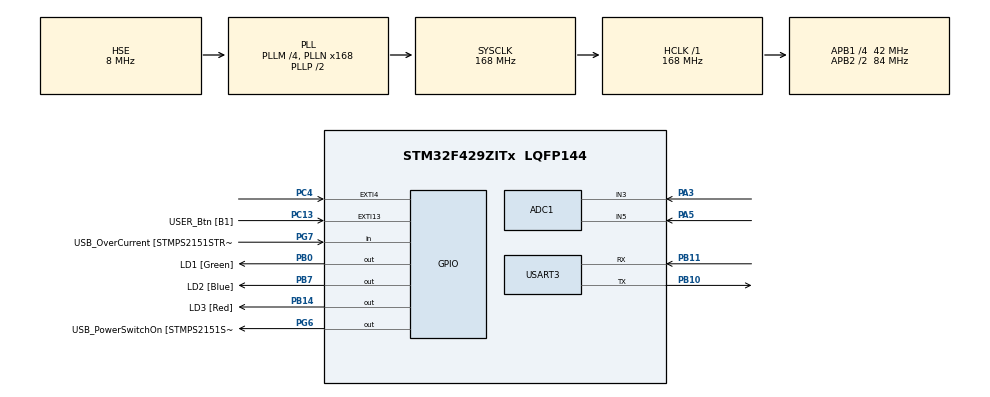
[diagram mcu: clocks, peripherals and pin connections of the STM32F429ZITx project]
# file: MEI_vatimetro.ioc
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ADC1.Channel-0\#ChannelRegularConversion=ADC_CHANNEL_3
ADC1.Channel-1\#ChannelRegularConversion=ADC_CHANNEL_5
ADC1.ContinuousConvMode=DISABLE
ADC1.DMAContinuousRequests=ENABLE
ADC1.ExternalTrigConv=ADC_EXTERNALTRIGCONV_T3_TRGO
ADC1.NbrOfConversion=2
ADC1.NbrOfConversionFlag=1
ADC1.Rank-0\#ChannelRegularConversion=1
ADC1.Rank-1\#ChannelRegularConversion=2
ADC1.SamplingTime-0\#ChannelRegularConversion=ADC_SAMPLETIME_84CYCLES
ADC1.SamplingTime-1\#ChannelRegularConversion=ADC_SAMPLETIME_84CYCLES
ADC1.ScanConvMode=ENABLE
ADC1.master=1
Dma.ADC1.0.Direction=DMA_PERIPH_TO_MEMORY
Dma.ADC1.0.FIFOMode=DMA_FIFOMODE_DISABLE
Dma.ADC1.0.Instance=DMA2_Stream0
Dma.ADC1.0.MemDataAlignment=DMA_MDATAALIGN_HALFWORD
Dma.ADC1.0.MemInc=DMA_MINC_ENABLE
Dma.ADC1.0.Mode=DMA_CIRCULAR
Dma.ADC1.0.PeriphDataAlignment=DMA_PDATAALIGN_HALFWORD
Dma.ADC1.0.PeriphInc=DMA_PINC_DISABLE
Dma.ADC1.0.Priority=DMA_PRIORITY_HIGH
Dma.Request0=ADC1
Mcu.Family=STM32F4
Mcu.Name=STM32F429ZITx
Mcu.Package=LQFP144
NVIC.DMA2_Stream0_IRQn=true\:0\:0\:false\:false\:true\:false\:true\:true
NVIC.PriorityGroup=NVIC_PRIORITYGROUP_4
PA13.GPIO_Label=TMS
PA13.Mode=Serial_Wire
PA13.Signal=SYS_JTMS-SWDIO
PA14.GPIO_Label=TCK
PA14.Mode=Serial_Wire
PA14.Signal=SYS_JTCK-SWCLK
PA3.Signal=ADCx_IN3
PA5.Signal=ADCx_IN5
PB0.GPIO_Label=LD1 [Green]
PB0.Signal=GPIO_Output
PB10.Mode=Asynchronous
PB10.Signal=USART3_TX
PB11.Mode=Asynchronous
PB11.Signal=USART3_RX
PB14.GPIO_Label=LD3 [Red]
PB14.Signal=GPIO_Output
PB7.GPIO_Label=LD2 [Blue]
PB7.Signal=GPIO_Output
PC13.GPIO_Label=USER_Btn [B1]
PC13.Signal=GPXTI13
PC14/OSC32_IN.Mode=LSE-External-Oscillator
PC14/OSC32_IN.Signal=RCC_OSC32_IN
PC15/OSC32_OUT.Mode=LSE-External-Oscillator
PC15/OSC32_OUT.Signal=RCC_OSC32_OUT
PC4.Signal=GPXTI4
PG6.GPIO_Label=USB_PowerSwitchOn [STMPS2151STR_EN]
PG6.Signal=GPIO_Output
PG7.GPIO_Label=USB_OverCurrent [STMPS2151STR_FAULT]
PG7.Signal=GPIO_Input
PH0/OSC_IN.GPIO_Label=MCO [STM32F103CBT6_PA8]
PH0/OSC_IN.Mode=HSE-External-Clock-Source
PH0/OSC_IN.Signal=RCC_OSC_IN
PH1/OSC_OUT.Mode=HSE-External-Clock-Source
PH1/OSC_OUT.Signal=RCC_OSC_OUT
ProjectManager.HeapSize=0x200
ProjectManager.StackSize=0x400
ProjectManager.TargetToolchain=STM32CubeIDE
RCC.48MHZClocksFreq_Value=48000000
RCC.AHBFreq_Value=168000000
RCC.APB1CLKDivider=RCC_HCLK_DIV4
RCC.APB1Freq_Value=42000000
RCC.APB1TimFreq_Value=84000000
RCC.APB2CLKDivider=RCC_HCLK_DIV2
RCC.APB2Freq_Value=84000000
RCC.APB2TimCLKDivider=2
RCC.APB2TimFreq_Value=168000000
RCC.CortexFreq_Value=168000000
RCC.HCLKFreq_Value=168000000
RCC.HSE_VALUE=8000000
RCC.HSI_VALUE=16000000
RCC.PLLM=4
RCC.PLLMUL=RCC_PLL_MUL9
RCC.PLLN=168
RCC.PLLQ=7
RCC.PLLSourceVirtual=RCC_PLLSOURCE_HSE
RCC.PRESCALERUSB=RCC_USBCLKSOURCE_PLL_DIV1_5
RCC.SYSCLKFreq_VALUE=168000000
RCC.SYSCLKSource=RCC_SYSCLKSOURCE_PLLCLK
RCC.SYSCLKSourceVirtual=RCC_SYSCLKSOURCE_PLLCLK
RCC.USBFreq_Value=48000000
RCC.VCOOutputFreq_Value=336000000
SH.ADCx_IN3.0=ADC1_IN3,IN3
SH.ADCx_IN5.0=ADC1_IN5,IN5
TIM3.Period=3360
TIM3.Prescaler=9
TIM3.TIM_MasterOutputTrigger=TIM_TRGO_UPDATE
TIM3.TIM_MasterSlaveMode=TIM_MASTERSLAVEMODE_DISABLE
USART3.VirtualMode=VM_ASYNC
VP_TIM3_VS_ClockSourceINT.Mode=Internal
board=NUCLEO-F429ZI

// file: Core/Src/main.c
/* USER CODE BEGIN Header */
/**
 ******************************************************************************
 * @file           : main.c
 * @brief          : Main program body
 ******************************************************************************
 * @attention
 *
 * Copyright (c) 2023 STMicroelectronics.
 * All rights reserved.
 *
 * This software is licensed under terms that can be found in the LICENSE file
 * in the root directory of this software component.
 * If no LICENSE file comes with this software, it is provided AS-IS.
 *
 ******************************************************************************
 */
/* USER CODE END Header */
#include "main.h"

/* USER CODE BEGIN Includes */
#include <math.h>
#include <stdint.h>
#include <stdio.h>
#include <stdbool.h>
/* USER CODE END Includes */

/* USER CODE BEGIN PM */
#define SAMPLES_AMOUNT  500
#define VOLTAGE_SAMPLES 250
#define CURRENT_SAMPLES 250
#define VOLTAGE_COMP    311.11 // 311Vp se traducen en 3Vp
#define CURRENT_COMP    1
#define VREF_ADC        3
#define MAKE_TO_MILI    1000
#define N_AVERAGE       10
/* USER CODE END PM */

ADC_HandleTypeDef hadc1;
DMA_HandleTypeDef hdma_adc1;

TIM_HandleTypeDef htim3;

UART_HandleTypeDef huart3;

void SystemClock_Config(void);
static void MX_GPIO_Init(void);
static void MX_DMA_Init(void);
static void MX_ADC1_Init(void);
static void MX_TIM3_Init(void);
static void MX_USART3_UART_Init(void);
/* USER CODE BEGIN PFP */
static uint16_t DMA_samples_buffer[SAMPLES_AMOUNT] = {0};

static double instant_power[VOLTAGE_SAMPLES] = {0.0};

void runStateMachine(bool isReady);

//#ifdef __GNUC__
#define PUTCHAR_PROTOTYPE int __io_putchar(int ch)
//#else
//#define PUTCHAR_PROTOTYPE int fputc(int ch, FILE *f)
//#endif

PUTCHAR_PROTOTYPE{
  HAL_UART_Transmit(&huart3,(uint8_t *)&ch, 1, HAL_MAX_DELAY);

  return ch;
}
//int _write(int file, char *ptr, int len) {
//    HAL_UART_Transmit(&huart3, (uint8_t *)ptr, len, 1000);
//    return len;
//}

typedef enum
{
  SPLIT_SAMPLES,
  ADECUATE_SAMPLES,
  CALCULATE,
  MOVING_AVERAGE,
  SHOW
} StateMachineISR;

typedef struct
{
  uint16_t voltage_samples[VOLTAGE_SAMPLES]; // PA3
  double adequate_voltage_samples[VOLTAGE_SAMPLES];
  uint16_t average_val_voltage;
  double effective_voltage;
} VoltageParams;

typedef struct
{
  uint16_t current_samples[CURRENT_SAMPLES]; // PA5
  double adequate_current_samples_mA[CURRENT_SAMPLES];
  uint16_t average_val_current;
  double effective_current_mA;
} CurrentParams;

typedef struct
{
  double active_power;
  double apparent_power;
  double reactive_power;
  double power_factor;
} PowerParams;

VoltageParams voltage_params = {0};
CurrentParams current_params = {0};
PowerParams power_data_acquired = {0};

static double arrVoltage_moving[N_AVERAGE] = {0.0};
static double arrCurrent_moving[N_AVERAGE] = {0.0};
static PowerParams arrPower_moving[N_AVERAGE] = {0};
static double voltage_value;
static double current_value;
static double active_value;
static double apparent_value;
static double reactive_value;
static double factor_value;
static uint8_t n_values = 1;  //amount of samples
static uint8_t position_to_insert = 0;

static StateMachineISR ISR_state = SPLIT_SAMPLES;
// volatile bool conversion_is_complete = false;

void HAL_ADC_ConvCpltCallback(ADC_HandleTypeDef *hadc); // Este es el callback para la rutina de servicio de la interrupción
                                                        // Dentro de HAL_ADC_IRQHandler

uint16_t getAverage(uint16_t *samples_buff);

/* USER CODE END PFP */

/* USER CODE BEGIN 0 */
uint16_t getAverage(uint16_t *samples_buff)
{

  volatile uint32_t sum = 0;

  for (uint16_t i = 0; i < VOLTAGE_SAMPLES; i++)
  {
    sum += samples_buff[i];
  }
  return (uint16_t)(sum / VOLTAGE_SAMPLES);
}
double getAverage_double(double *samples_buff)
{

  volatile double sum = 0;

  for (uint32_t i = 0; i < VOLTAGE_SAMPLES; i++)
  {
    sum += samples_buff[i];
  }
  return (double)(sum / VOLTAGE_SAMPLES);
}
double getRMS(double *samples_buff)
{

  volatile uint32_t aux_value = 0;
  volatile double rms_value = 0.0;

  for (uint32_t i = 0; i < VOLTAGE_SAMPLES; i++)
  {
    aux_value += samples_buff[i] * samples_buff[i];
  }
  rms_value = sqrt(aux_value / VOLTAGE_SAMPLES);

  return rms_value;
}
// indice del arreglo; muestra que se agrega; ubicacion donde se agrega
double getMovingAverage(uint8_t n, uint8_t amount_of_samples, double sample_buff, double *arr_average)
{

  volatile double tmp_value = 0;

  arr_average[n] = sample_buff;

  for (uint8_t x = 0; x < amount_of_samples; x++)
  {
    tmp_value += arr_average[x];
  }

  return (double) (tmp_value / amount_of_samples);
}

void getMovingAverage_s(uint8_t n, uint8_t amount_of_samples)
{
  volatile double tmp_act =0;
  volatile double tmp_app =0;
  volatile double tmp_rea =0;
  volatile double tmp_fdp =0;

  arrPower_moving[n].active_power   = power_data_acquired.active_power;
  arrPower_moving[n].apparent_power = power_data_acquired.apparent_power;
  arrPower_moving[n].reactive_power = power_data_acquired.reactive_power;
  arrPower_moving[n].power_factor   = power_data_acquired.power_factor;

  for (uint8_t x = 0; x < amount_of_samples; x++)
  {
    tmp_act += arrPower_moving[x].active_power;
    tmp_app += arrPower_moving[x].apparent_power;
    tmp_rea += arrPower_moving[x].reactive_power;
    tmp_fdp += arrPower_moving[x].power_factor;
  }
  active_value  = tmp_act/amount_of_samples;//printf
  apparent_value= tmp_app/amount_of_samples;//printf
  reactive_value= tmp_rea/amount_of_samples;//printf
  factor_value  = tmp_fdp/amount_of_samples;//printf

  return;
}

/* USER CODE END 0 */

int main(void)
{

  /* MCU Configuration--------------------------------------------------------*/

  /* Reset of all peripherals, Initializes the Flash interface and the Systick. */
  HAL_Init();

  /* USER CODE BEGIN Init */
  printf("-----------------------------\r\n");
  printf("Medidas Electronicas I\r\n");
  printf("Laboratorio 13\r\n");
  printf("Alberdi - Morelli - Sepulveda\r\n");
  printf("-----------------------------\r\n\n");
  HAL_Delay(2000);
  /* USER CODE END Init */

  /* Configure the system clock */
  SystemClock_Config();

  /* USER CODE BEGIN SysInit */
  SystemInit();
  /* USER CODE END SysInit */

  /* Initialize all configured peripherals */
  MX_GPIO_Init();
  MX_DMA_Init();
  MX_ADC1_Init();
  MX_TIM3_Init();
  MX_USART3_UART_Init();
  /* USER CODE BEGIN 2 */
  HAL_ADC_Start_DMA(&hadc1, (uint32_t *)DMA_samples_buffer, SAMPLES_AMOUNT);
  HAL_TIM_Base_Start_IT(&htim3);

  /* USER CODE END 2 */

  /* Infinite loop */
  while (1)
  {

  }
}

void SystemClock_Config(void)
{
  RCC_OscInitTypeDef RCC_OscInitStruct = {0};
  RCC_ClkInitTypeDef RCC_ClkInitStruct = {0};

  /** Configure the main internal regulator output voltage
  */
  __HAL_RCC_PWR_CLK_ENABLE();
  __HAL_PWR_VOLTAGESCALING_CONFIG(PWR_REGULATOR_VOLTAGE_SCALE1);

  /** Initializes the RCC Oscillators according to the specified parameters
  * in the RCC_OscInitTypeDef structure.
  */
  RCC_OscInitStruct.OscillatorType = RCC_OSCILLATORTYPE_HSE;
  RCC_OscInitStruct.HSEState = RCC_HSE_BYPASS;
  RCC_OscInitStruct.PLL.PLLState = RCC_PLL_ON;
  RCC_OscInitStruct.PLL.PLLSource = RCC_PLLSOURCE_HSE;
  RCC_OscInitStruct.PLL.PLLM = 4;
  RCC_OscInitStruct.PLL.PLLN = 168;
  RCC_OscInitStruct.PLL.PLLP = RCC_PLLP_DIV2;
  RCC_OscInitStruct.PLL.PLLQ = 7;
  if (HAL_RCC_OscConfig(&RCC_OscInitStruct) != HAL_OK)
  {
    Error_Handler();
  }

  /** Initializes the CPU, AHB and APB buses clocks
  */
  RCC_ClkInitStruct.ClockType = RCC_CLOCKTYPE_HCLK|RCC_CLOCKTYPE_SYSCLK
                              |RCC_CLOCKTYPE_PCLK1|RCC_CLOCKTYPE_PCLK2;
  RCC_ClkInitStruct.SYSCLKSource = RCC_SYSCLKSOURCE_PLLCLK;
  RCC_ClkInitStruct.AHBCLKDivider = RCC_SYSCLK_DIV1;
  RCC_ClkInitStruct.APB1CLKDivider = RCC_HCLK_DIV4;
  RCC_ClkInitStruct.APB2CLKDivider = RCC_HCLK_DIV2;

  if (HAL_RCC_ClockConfig(&RCC_ClkInitStruct, FLASH_LATENCY_5) != HAL_OK)
  {
    Error_Handler();
  }
}

static void MX_ADC1_Init(void)
{

  ADC_ChannelConfTypeDef sConfig = {0};

  /** Configure the global features of the ADC (Clock, Resolution, Data Alignment and number of conversion)
  */
  hadc1.Instance = ADC1;
  hadc1.Init.ClockPrescaler = ADC_CLOCK_SYNC_PCLK_DIV4;
  hadc1.Init.Resolution = ADC_RESOLUTION_12B;
  hadc1.Init.ScanConvMode = ENABLE;
  hadc1.Init.ContinuousConvMode = DISABLE;
  hadc1.Init.DiscontinuousConvMode = DISABLE;
  hadc1.Init.ExternalTrigConvEdge = ADC_EXTERNALTRIGCONVEDGE_RISING;
  hadc1.Init.ExternalTrigConv = ADC_EXTERNALTRIGCONV_T3_TRGO;
  hadc1.Init.DataAlign = ADC_DATAALIGN_RIGHT;
  hadc1.Init.NbrOfConversion = 2;
  hadc1.Init.DMAContinuousRequests = ENABLE;
  hadc1.Init.EOCSelection = ADC_EOC_SINGLE_CONV;
  if (HAL_ADC_Init(&hadc1) != HAL_OK)
  {
    Error_Handler();
  }

  /** Configure for the selected ADC regular channel its corresponding rank in the sequencer and its sample time.
  */
  sConfig.Channel = ADC_CHANNEL_3;
  sConfig.Rank = 1;
  sConfig.SamplingTime = ADC_SAMPLETIME_84CYCLES;
  if (HAL_ADC_ConfigChannel(&hadc1, &sConfig) != HAL_OK)
  {
    Error_Handler();
  }

  /** Configure for the selected ADC regular channel its corresponding rank in the sequencer and its sample time.
  */
  sConfig.Channel = ADC_CHANNEL_5;
  sConfig.Rank = 2;
  if (HAL_ADC_ConfigChannel(&hadc1, &sConfig) != HAL_OK)
  {
    Error_Handler();
  }
}

static void MX_TIM3_Init(void)
{

  TIM_ClockConfigTypeDef sClockSourceConfig = {0};
  TIM_MasterConfigTypeDef sMasterConfig = {0};

  htim3.Instance = TIM3;
  htim3.Init.Prescaler = 9;
  htim3.Init.CounterMode = TIM_COUNTERMODE_UP;
  htim3.Init.Period = 3360;
  htim3.Init.ClockDivision = TIM_CLOCKDIVISION_DIV1;
  htim3.Init.AutoReloadPreload = TIM_AUTORELOAD_PRELOAD_DISABLE;
  if (HAL_TIM_Base_Init(&htim3) != HAL_OK)
  {
    Error_Handler();
  }
  sClockSourceConfig.ClockSource = TIM_CLOCKSOURCE_INTERNAL;
  if (HAL_TIM_ConfigClockSource(&htim3, &sClockSourceConfig) != HAL_OK)
  {
    Error_Handler();
  }
  sMasterConfig.MasterOutputTrigger = TIM_TRGO_UPDATE;
  sMasterConfig.MasterSlaveMode = TIM_MASTERSLAVEMODE_DISABLE;
  if (HAL_TIMEx_MasterConfigSynchronization(&htim3, &sMasterConfig) != HAL_OK)
  {
    Error_Handler();
  }
}

static void MX_USART3_UART_Init(void)
{

  huart3.Instance = USART3;
  huart3.Init.BaudRate = 115200;
  huart3.Init.WordLength = UART_WORDLENGTH_8B;
  huart3.Init.StopBits = UART_STOPBITS_1;
  huart3.Init.Parity = UART_PARITY_NONE;
  huart3.Init.Mode = UART_MODE_TX_RX;
  huart3.Init.HwFlowCtl = UART_HWCONTROL_NONE;
  huart3.Init.OverSampling = UART_OVERSAMPLING_16;
  if (HAL_UART_Init(&huart3) != HAL_OK)
  {
    Error_Handler();
  }
}

static void MX_DMA_Init(void)
{

  /* DMA controller clock enable */
  __HAL_RCC_DMA2_CLK_ENABLE();

  /* DMA interrupt init */
  /* DMA2_Stream0_IRQn interrupt configuration */
  HAL_NVIC_SetPriority(DMA2_Stream0_IRQn, 0, 0);
  HAL_NVIC_EnableIRQ(DMA2_Stream0_IRQn);
}

static void MX_GPIO_Init(void)
{
  GPIO_InitTypeDef GPIO_InitStruct = {0};

  /* GPIO Ports Clock Enable */
  __HAL_RCC_GPIOC_CLK_ENABLE();
  __HAL_RCC_GPIOH_CLK_ENABLE();
  __HAL_RCC_GPIOA_CLK_ENABLE();
  __HAL_RCC_GPIOB_CLK_ENABLE();
  __HAL_RCC_GPIOG_CLK_ENABLE();

  /*Configure GPIO pin Output Level */
  HAL_GPIO_WritePin(GPIOB, LD1_Pin|LD3_Pin|LD2_Pin, GPIO_PIN_RESET);

  /*Configure GPIO pin Output Level */
  HAL_GPIO_WritePin(USB_PowerSwitchOn_GPIO_Port, USB_PowerSwitchOn_Pin, GPIO_PIN_RESET);

  /*Configure GPIO pins : USER_Btn_Pin PC4 */
  GPIO_InitStruct.Pin = USER_Btn_Pin|GPIO_PIN_4;
  GPIO_InitStruct.Mode = GPIO_MODE_IT_RISING;
  GPIO_InitStruct.Pull = GPIO_NOPULL;
  HAL_GPIO_Init(GPIOC, &GPIO_InitStruct);

  /*Configure GPIO pins : LD1_Pin LD3_Pin LD2_Pin */
  GPIO_InitStruct.Pin = LD1_Pin|LD3_Pin|LD2_Pin;
  GPIO_InitStruct.Mode = GPIO_MODE_OUTPUT_PP;
  GPIO_InitStruct.Pull = GPIO_NOPULL;
  GPIO_InitStruct.Speed = GPIO_SPEED_FREQ_LOW;
  HAL_GPIO_Init(GPIOB, &GPIO_InitStruct);

  /*Configure GPIO pin : USB_PowerSwitchOn_Pin */
  GPIO_InitStruct.Pin = USB_PowerSwitchOn_Pin;
  GPIO_InitStruct.Mode = GPIO_MODE_OUTPUT_PP;
  GPIO_InitStruct.Pull = GPIO_NOPULL;
  GPIO_InitStruct.Speed = GPIO_SPEED_FREQ_LOW;
  HAL_GPIO_Init(USB_PowerSwitchOn_GPIO_Port, &GPIO_InitStruct);

  /*Configure GPIO pin : USB_OverCurrent_Pin */
  GPIO_InitStruct.Pin = USB_OverCurrent_Pin;
  GPIO_InitStruct.Mode = GPIO_MODE_INPUT;
  GPIO_InitStruct.Pull = GPIO_NOPULL;
  HAL_GPIO_Init(USB_OverCurrent_GPIO_Port, &GPIO_InitStruct);

/* USER CODE BEGIN MX_GPIO_Init_2 */
  GPIO_InitStruct.Pin = USART_Tx | USART_Rx;
  GPIO_InitStruct.Mode = GPIO_MODE_AF_PP;
  GPIO_InitStruct.Pull = GPIO_PULLUP;
  GPIO_InitStruct.Speed = GPIO_SPEED_FREQ_VERY_HIGH;
  GPIO_InitStruct.Alternate = GPIO_AF7_USART3;
  HAL_GPIO_Init(USART_GPIO_Port, &GPIO_InitStruct);
/* USER CODE END MX_GPIO_Init_2 */
}

/* USER CODE BEGIN 4 */

void deInitVariables(void)
{

  for (uint8_t i = 0; i < VOLTAGE_SAMPLES; i++)
  {
    voltage_params.voltage_samples[i] = 0;
    current_params.current_samples[i] = 0;
    voltage_params.adequate_voltage_samples[i] = 0;
    current_params.adequate_current_samples_mA[i] = 0;
    instant_power[i] = 0;
  }
  voltage_params.average_val_voltage = 0;
  voltage_params.effective_voltage = 0;
  current_params.average_val_current = 0;
  current_params.effective_current_mA = 0;
  power_data_acquired.active_power = 0;
  power_data_acquired.apparent_power = 0;
  power_data_acquired.reactive_power = 0;
  power_data_acquired.power_factor = 0;

  return;
}

void HAL_ADC_ConvCpltCallback(ADC_HandleTypeDef *hadc)
{

  HAL_TIM_Base_Stop(&htim3);
  runStateMachine(true);

  return;
}

void runStateMachine(bool isReady)
{

  if (isReady)
  {
    deInitVariables();
    volatile double square_ap = 0;
    volatile double square_ac = 0;
    ISR_state = SPLIT_SAMPLES;

    switch (ISR_state)
    {

    case SPLIT_SAMPLES:
      for (uint16_t i = 0; i < SAMPLES_AMOUNT; i++)
      {
        uint16_t k = (i / 2);
        ((i % 2) == 0) ? (voltage_params.voltage_samples[k] = DMA_samples_buffer[i]) : (current_params.current_samples[k] = DMA_samples_buffer[i]);
      }
      voltage_params.average_val_voltage = getAverage(voltage_params.voltage_samples);
      current_params.average_val_current = getAverage(current_params.current_samples);

      ISR_state = ADECUATE_SAMPLES;

    case ADECUATE_SAMPLES:
      for (uint16_t i = 0; i < VOLTAGE_SAMPLES; i++)
      {
        volatile uint16_t v = voltage_params.voltage_samples[i];
        volatile uint16_t a = voltage_params.average_val_voltage;
        volatile double n = (double)(v - a);

        volatile uint16_t e = current_params.current_samples[i];
        volatile uint16_t s = current_params.average_val_current;
        volatile double x = (double)(e - s);

        voltage_params.adequate_voltage_samples[i] = ((n) / (a)) * 345.65; // 345.65 = 311Vp/((n)/(a))
        current_params.adequate_current_samples_mA[i] = ((x) / (s)) *1.1 * MAKE_TO_MILI;
        instant_power[i] = (voltage_params.adequate_voltage_samples[i] * current_params.adequate_current_samples_mA[i]);
      }

      ISR_state = CALCULATE;

    case CALCULATE:
      // S: apparent power
      // Q: reactive power
      // P: active power
      // FDP: arc cosine of P/S

      volatile double aux_active_power = getAverage_double(instant_power) / MAKE_TO_MILI;
      volatile double aux_squared_power= pow(aux_active_power, 2);

      power_data_acquired.active_power =  sqrt(aux_squared_power);// V*I*cos(phi)

      voltage_params.effective_voltage = getRMS(voltage_params.adequate_voltage_samples);
      current_params.effective_current_mA = (getRMS(current_params.adequate_current_samples_mA));

      power_data_acquired.apparent_power = (current_params.effective_current_mA * voltage_params.effective_voltage) / MAKE_TO_MILI;

      square_ap = (double)(pow(power_data_acquired.apparent_power, 2));
      square_ac = (double)(pow(power_data_acquired.active_power, 2));

      power_data_acquired.reactive_power = sqrt(square_ap - square_ac);

      power_data_acquired.power_factor = (double)(power_data_acquired.active_power / power_data_acquired.apparent_power);

      ISR_state = MOVING_AVERAGE;

    case MOVING_AVERAGE:

      voltage_value = getMovingAverage(position_to_insert, n_values, voltage_params.effective_voltage, arrVoltage_moving);
      current_value = getMovingAverage(position_to_insert, n_values, current_params.effective_current_mA, arrCurrent_moving);

      getMovingAverage_s(position_to_insert, n_values);

      (position_to_insert < 9) ? (++position_to_insert) : (position_to_insert = 0);
      (n_values <N_AVERAGE) ? (++n_values) : (n_values=N_AVERAGE);

      ISR_state = SHOW;

    case SHOW:

      printf("Tension efectiva:\t %.2f [V]\r\n", voltage_value);
      printf("Corriente efectiva:\t %.2f [mA]\r\n",current_value);
      printf("Potencia activa:\t %.2f [W]\r\n", active_value);
      printf("Potencia aparente:\t %.2f [VA]\r\n", apparent_value);
      printf("Potencia reactiva:\t %.2f [VAR]\r\n", reactive_value);
      printf("Factor de potencia:\t %.2f []\r\n\n", factor_value);

      ISR_state = SPLIT_SAMPLES;
      HAL_TIM_Base_Start(&htim3);
      break;

    default:
      break;
    }
  }
  return;
}

/* USER CODE END 4 */

void Error_Handler(void)
{
  __disable_irq();
  while (1)
  {
  }
}
